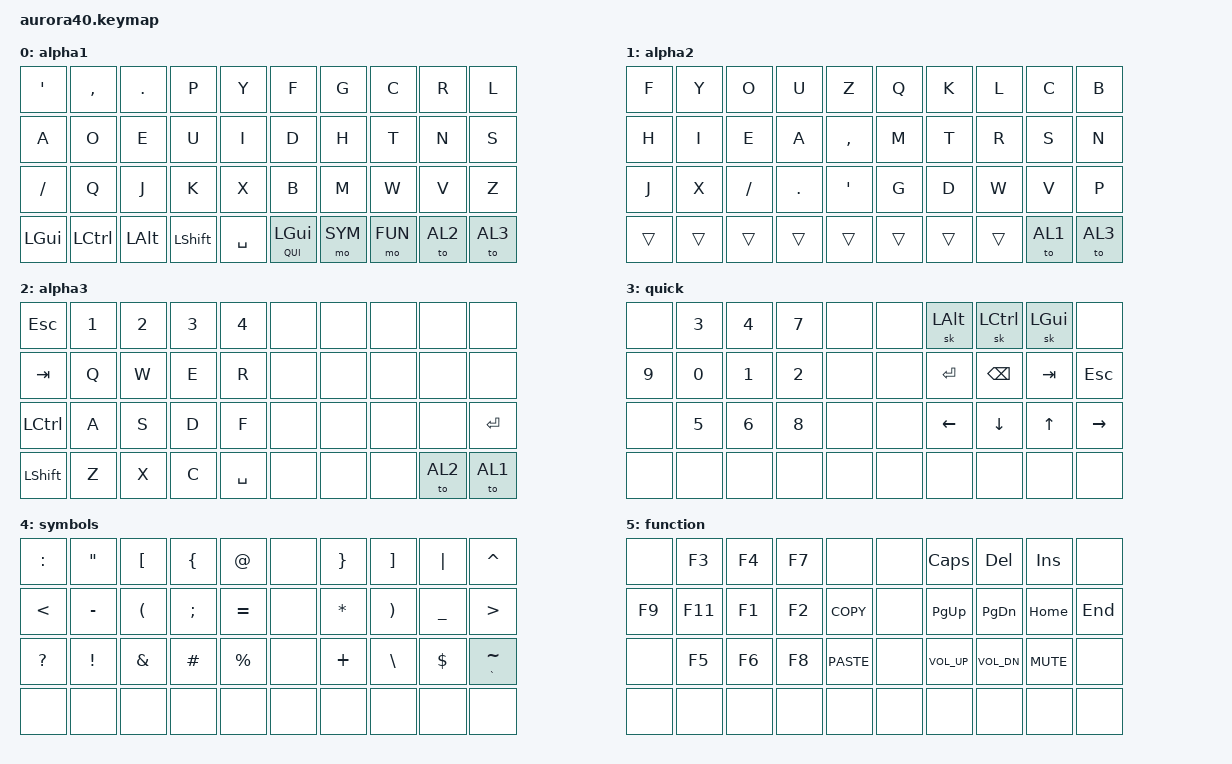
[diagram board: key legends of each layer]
#include <behaviors.dtsi>
#include <dt-bindings/zmk/keys.h>

/* Layers */
#define AL1 0
#define AL2 1
#define AL3 2
#define QUI 3
#define SYM 4
#define FUN 5

/ { 
    //      ----------------------    ----------------------
    //      | 00  01  02  03  04 |    | 05  06  07  08  09 |
    //      | 10  11  12  13  14 |    | 15  16  17  18  19 |
    //      | 20  21  22  23  24 |    | 25  26  27  28  29 |
    //      | 30  31  32  33  34 |    | 35  36  37  38  39 |
    //      ----------------------    ----------------------

    behaviors {
        my_lt: my_layer_tap {
            compatible = "zmk,behavior-hold-tap";
            #binding-cells = <2>;
            flavor = "tap-unless-interrupted";
            tapping-term-ms = <2000>; // time until hold expires with unless interrupted flavor
            bindings = <&mo>, <&kp>;
            display-name = "Layer-Tap";
        };
    };

    keymap {
        compatible = "zmk,keymap";

        // Dvorak
        alpha1 {
            bindings = <
                &kp APOS    &kp COMMA   &kp DOT     &kp P       &kp Y               &kp F           &kp G       &kp C       &kp R       &kp L
                &kp A       &kp O       &kp E       &kp U       &kp I               &kp D           &kp H       &kp T       &kp N       &kp S
                &kp FSLH    &kp Q       &kp J       &kp K       &kp X               &kp B           &kp M       &kp W       &kp V       &kp Z
                &kp LGUI    &kp LCTRL   &kp LALT    &kp LSHFT   &kp SPACE           &my_lt QUI LGUI    &mo SYM     &mo FUN     &to AL2     &to AL3
            >;
        };

        // Heyyou!
        alpha2 {
            bindings = <
                &kp F       &kp Y       &kp O       &kp U       &kp Z               &kp Q      &kp K       &kp L       &kp C       &kp B
                &kp H       &kp I       &kp E       &kp A       &kp COMMA           &kp M      &kp T       &kp R       &kp S       &kp N
                &kp J       &kp X       &kp FSLH    &kp DOT     &kp APOS            &kp G      &kp D       &kp W       &kp V       &kp P
                &trans      &trans      &trans      &trans      &trans              &trans     &trans      &trans      &to AL1     &to AL3
            >;
        };
        
        // Qwerty/Gaming mode
        alpha3 {
            bindings = <
                &kp ESC       &kp N1      &kp N2      &kp N3      &kp N4              &none      &none       &none       &none       &none
                &kp TAB       &kp Q       &kp W       &kp E       &kp R               &none      &none       &none       &none       &none
                &kp LCTRL     &kp A       &kp S       &kp D       &kp F               &none      &none       &none       &none       &kp RET
                &kp LSHFT     &kp Z       &kp X       &kp C       &kp SPACE           &none      &none       &none       &to AL2     &to AL1
            >;
        };
        // Common quick-access functions and numbers
        quick {
            bindings = <
                &none       &kp N3      &kp N4     &kp N7    &none                 &none        &sk LALT       &sk LCTRL      &sk LGUI       &none   
                &kp N9      &kp N0      &kp N1     &kp N2    &none                 &none        &kp RET        &kp BSPC       &kp TAB        &kp ESC     
                &none       &kp N5      &kp N6     &kp N8    &none                 &none        &kp LEFT       &kp DOWN       &kp UP         &kp RIGHT    
                &none       &none       &none      &none     &none                 &none        &none          &none          &none          &none
            >;
        };
        // Symbols
        symbols {
            bindings = <
                &kp COLON   &kp DQT     &kp LBKT   &kp LBRC  &kp AT                &none        &kp RBRC       &kp RBKT       &kp PIPE       &kp CARET
                &kp LT      &kp MINUS   &kp LPAR   &kp SEMI  &kp EQUAL             &none        &kp STAR       &kp RPAR       &kp UNDER      &kp GT  
                &kp QMARK   &kp EXCL    &kp AMPS   &kp HASH  &kp PRCNT             &none        &kp PLUS       &kp BSLH       &kp DLLR       &mt GRAVE TILDE
                &none       &none       &none      &none     &none                 &none        &none          &none          &none          &none
            >;
        };
        // Everything else
        function {
            bindings = <
                &none       &kp F3      &kp F4     &kp F7    &none                 &none        &kp CAPS       &kp DEL        &kp INS        &none     
                &kp F9      &kp F11     &kp F1     &kp F2    &kp K_COPY            &none        &kp PG_UP      &kp PG_DN      &kp HOME       &kp END  
                &none       &kp F5      &kp F6     &kp F8    &kp K_PASTE           &none        &kp C_VOL_UP   &kp C_VOL_DN   &kp C_MUTE     &none    
                &none       &none       &none      &none     &none                 &none        &none          &none          &none          &none
            >;
        };
    };
};
